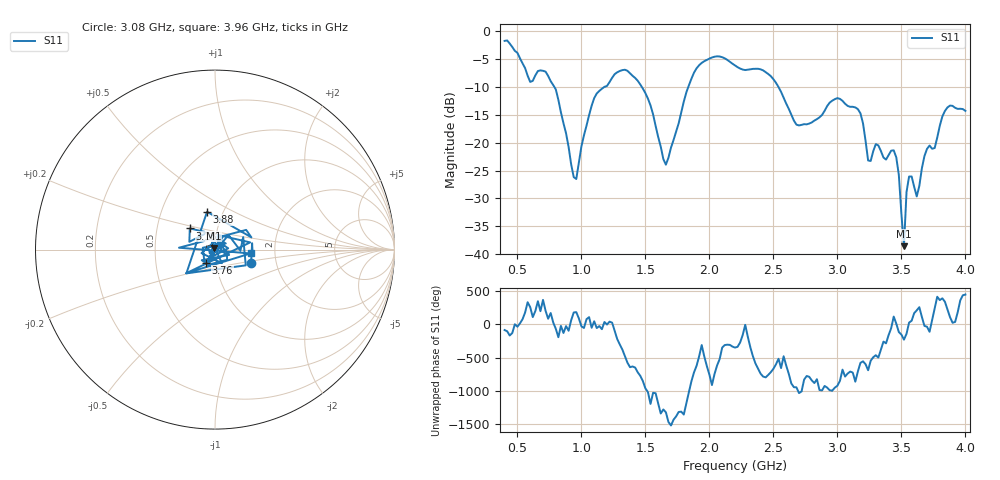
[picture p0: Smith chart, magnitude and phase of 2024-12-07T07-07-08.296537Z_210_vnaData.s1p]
!Created with skrf (http://scikit-rf.org).
# Hz S RI R 50.0
!freq ReS11 ImS11
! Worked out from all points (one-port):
!   181 points, 400 MHz to 4 GHz, reference 50 ohm
!   lowest |S11| = -38.6 dB at 3.52 GHz (marker M1), VSWR 1.02, Z = 49.3 + j0.933 ohm
!   |S11| at or under -10 dB: 788.5 MHz to 1.179 GHz (390.2 MHz wide, 39.7 % of centre); 1.472 GHz to 1.835 GHz (363 MHz wide, 22 % of centre); 2.54 GHz to end of sweep
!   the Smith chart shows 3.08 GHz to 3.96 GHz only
!   S11 on the Smith chart (normalised r, x): 3.08 GHz: 1.48, -0.22; 3.18 GHz: 0.74, +0.18; 3.76 GHz: 0.89, -0.13; 3.88 GHz: 0.84, +0.37; 3.96 GHz: 1.50, -0.07
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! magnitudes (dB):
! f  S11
! 400 MHz  -1.7
! 600 MHz  -9.1
! 720 MHz  -7.3
! 860 MHz  -16.5
! 960 MHz  -26.5
! 1.1 GHz  -12.0
! 1.3 GHz  -7.1
! 1.5 GHz  -11.1
! 1.66 GHz  -23.9
! 1.76 GHz  -16.5
! 1.92 GHz  -6.1
! 2.2 GHz  -6.1
! 2.48 GHz  -8.1
! 2.66 GHz  -16.0
! 3.08 GHz  -13.4
! 3.1 GHz  -13.6
! 3.18 GHz  -14.7
! 3.24 GHz  -23.2
! 3.46 GHz  -22.6
! 3.52 GHz  -38.6
! 3.54 GHz  -28.9
! 3.56 GHz  -26.1
! 3.62 GHz  -29.6
! 3.7 GHz  -21.1
! 3.76 GHz  -21.0
! 3.88 GHz  -13.3
! 3.96 GHz  -13.9
! 4 GHz  -14.3
